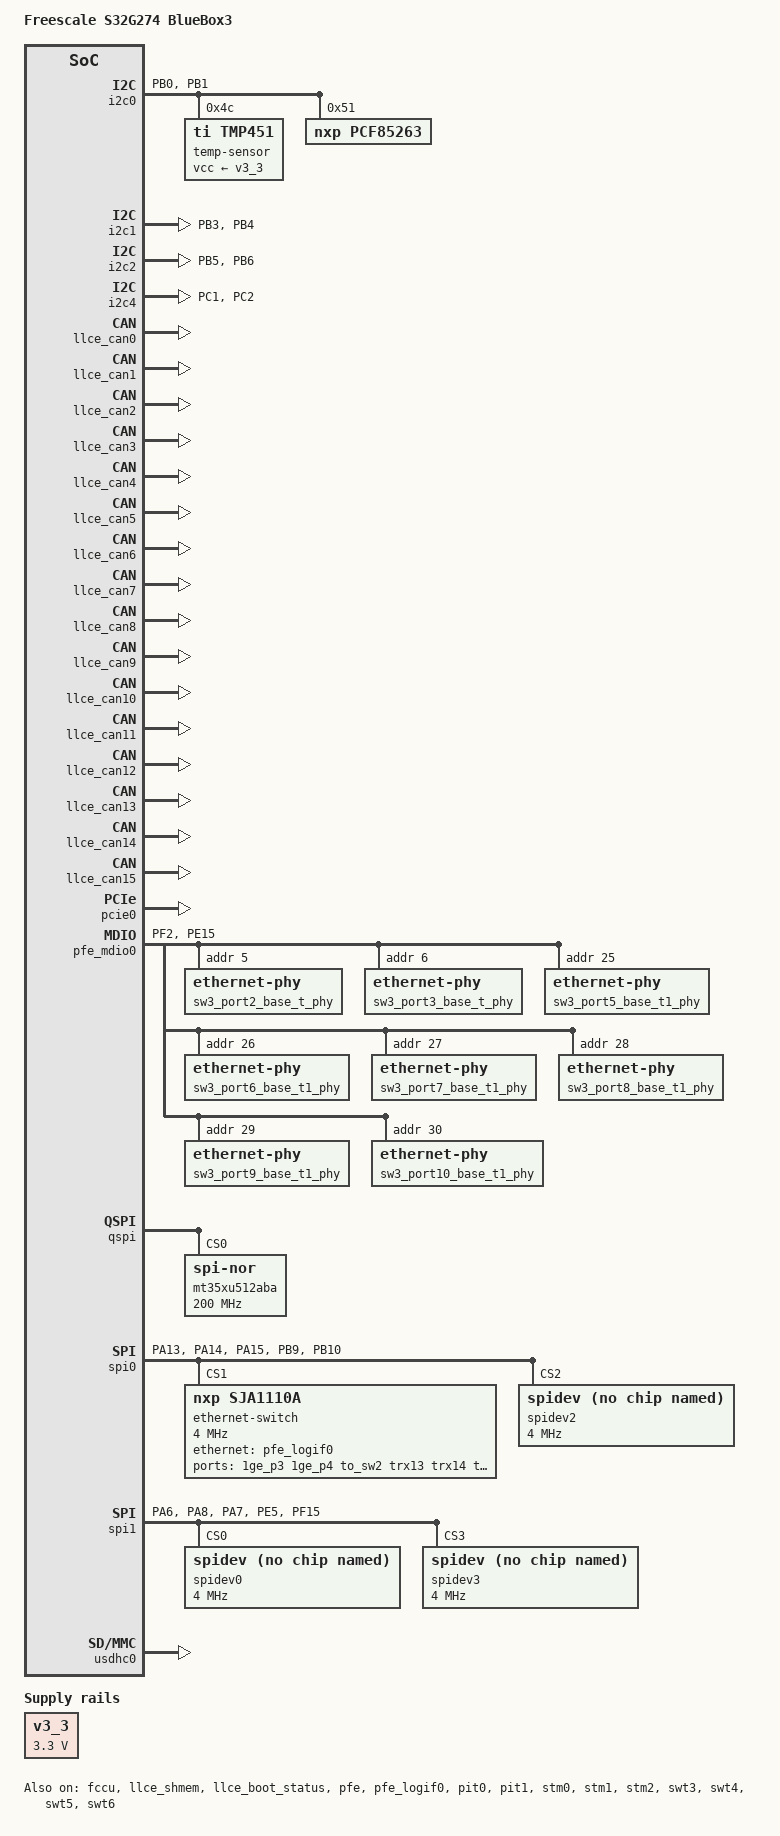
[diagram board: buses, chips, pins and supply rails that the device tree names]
// SPDX-License-Identifier: GPL-2.0-or-later
/*
 * Copyright 2020-2021 NXP
 */

/dts-v1/;
#include "fsl-s32g274a.dtsi"
#include <dt-bindings/pinctrl/s32g274-pinctrl.h>
/ {
	model = "Freescale S32G274 BlueBox3";
	compatible = "fsl,s32g274-simu", "arm,vexpress";

	aliases {
		rtc0 = &pcf85263;
		rtc1 = &rtc0;
	};

	chosen {
		stdout-path = "serial0:115200n8";
	};

	v3_3: fixed-regulator-3_3v {
		compatible = "regulator-fixed";
		regulator-name = "3_3v";
		regulator-min-microvolt = <3300000>;
		regulator-max-microvolt = <3300000>;
		regulator-always-on;
		regulator-boot-on;
	};
};

&edma0 {
	status = "okay";
};

&edma1 {
	status = "okay";
};

&fccu {
	status = "okay";
};

&fxosc {
	clock-frequency = <40000000>;
};

&generic_timer {
	clock-frequency = <5000000>;
};

&gmac0 {
	status = "disabled";
};

&gpio0 {
	pinctrl-names = "default";
	pinctrl-0 = <&pinctrl_gpio0>;
	status = "okay";
};

&gpio1 {
	pinctrl-names = "default";
	pinctrl-0 = <&pinctrl_gpioeirq>, <&pinctrl_gpio1>;
	status = "okay";
};

&i2c0 {
	pinctrl-names = "default";
	pinctrl-0 = <&pinctrl0_i2c0>;
	status = "okay";

	temp-sensor@4c {
		compatible = "ti,tmp451";
		reg = <0x4c>;
		vcc-supply = <&v3_3>;
		#thermal-sensor-cells = <1>;
	};

	pcf85263: rtc@51 {
		compatible = "nxp,pcf85263";
		reg = <0x51>;
	};
};

&i2c1 {
	pinctrl-names = "default";
	pinctrl-0 = <&pinctrl0_i2c1>, <&pinctrl1_i2c1>;
	status = "okay";
};

&i2c2 {
	pinctrl-names = "default";
	pinctrl-0 = <&pinctrl0_i2c2>, <&pinctrl1_i2c2>;
	status = "okay";
};

&i2c4 {
	pinctrl-names = "default";
	pinctrl-0 = <&pinctrl0_i2c4>, <&pinctrl1_i2c4>;
	status = "okay";
};

&llce0_sram {
	status = "okay";
};

&llce1_sram {
	status = "okay";
};

&llce2_sram {
	status = "okay";
};

&llce3_sram {
	status = "okay";
};

&llce_shmem {
	status = "okay";
};

&llce_boot_status {
	status = "okay";
};

&llce_can0 {
	status = "okay";
};

&llce_can1 {
	status = "okay";
};

&llce_can2 {
	status = "okay";
};

&llce_can3 {
	status = "okay";
};

&llce_can4 {
	status = "okay";
};

&llce_can5 {
	status = "okay";
};

&llce_can6 {
	status = "okay";
};

&llce_can7 {
	status = "okay";
};

&llce_can8 {
	status = "okay";
};

&llce_can9 {
	status = "okay";
};

&llce_can10 {
	status = "okay";
};

&llce_can11 {
	status = "okay";
};

&llce_can12 {
	status = "okay";
};

&llce_can13 {
	status = "okay";
};

&llce_can14 {
	status = "okay";
};

&llce_can15 {
	status = "okay";
};

&pcie0 {
	status = "okay";
};

&pfe {
	status = "okay";
	memory-region = <&pfe_reserved>;
};

&pfe_logif0 {
	status = "okay";
	phy-mode = "sgmii";
	fixed-link {
		speed = <1000>;
		full-duplex;
	};
};

&pfe_logif1 {
	status = "disabled";
};

&pfe_logif2 {
	status = "disabled";
};

&pfe_mdio0 {
	pinctrl-names = "default";
	pinctrl-0 = <&pinctrl0_pfe0_mdio>, <&pinctrl1_pfe0_mdio>;
	status = "okay";

	sw3_port2_base_t_phy: ethernet-phy@5 {
		reg = <5>;
	};

	sw3_port3_base_t_phy: ethernet-phy@6 {
		reg = <6>;
	};

	sw3_port5_base_t1_phy: ethernet-phy@19 {
		reg = <0x19>;
	};

	sw3_port6_base_t1_phy: ethernet-phy@1a {
		reg = <0x1a>;
	};

	sw3_port7_base_t1_phy: ethernet-phy@1b {
		reg = <0x1b>;
	};

	sw3_port8_base_t1_phy: ethernet-phy@1c {
		reg = <0x1c>;
	};

	sw3_port9_base_t1_phy: ethernet-phy@1d {
		reg = <0x1d>;
	};

	sw3_port10_base_t1_phy: ethernet-phy@1e {
		reg = <0x1e>;
	};
};

&pinctrl0 {
	status = "okay";
	s32g274a-bluebox3 {
		pinctrl0_dspi0: dsp0grp {
			fsl,pins = <
				S32_GEN1_PAD_PA13__SPI0_SCK_OUT
				S32_GEN1_PAD_PA14__SPI0_SIN_OUT
				S32_GEN1_PAD_PA15__SPI0_SOUT_OUT
				S32_GEN1_PAD_PB9__SPI0_CS1_OUT
				S32_GEN1_PAD_PB10__SPI0_CS2_OUT
			>;
		};

		pinctrl0_dspi1: dspi1grp {
			fsl,pins = <
				S32_GEN1_PAD_PA6__SPI1_SOUT_OUT
				S32_GEN1_PAD_PA8__SPI1_SCK_OUT
				S32_GEN1_PAD_PA7__SPI1_CS0_OUT
				S32_GEN1_PAD_PE5__SPI1_CS3_OUT
				S32_GEN1_PAD_PF15__SPI1_SIN_OUT
			>;
		};

		pinctrl0_i2c0: i2c0grp {
			fsl,pins = <
				S32_GEN1_PAD_PB0__I2C0_DATA_OUT
				S32_GEN1_PAD_PB0__I2C0_DATA_IN
				S32_GEN1_PAD_PB1__I2C0_SCLK_OUT
				S32_GEN1_PAD_PB1__I2C0_SCLK_IN
			>;
		};

		pinctrl0_i2c1: i2c1grp {
			fsl,pins = <
				S32_GEN1_PAD_PB3__I2C1_SCLK_OUT
				S32_GEN1_PAD_PB4__I2C1_DATA_OUT
			>;
		};

		pinctrl0_i2c2: i2c2grp {
			fsl,pins = <
				S32_GEN1_PAD_PB5__I2C2_SCLK_OUT
				S32_GEN1_PAD_PB6__I2C2_DATA_OUT
			>;
		};

		pinctrl0_i2c4: i2c4grp {
			fsl,pins = <
				S32_GEN1_PAD_PC1__I2C4_DATA_OUT
				S32_GEN1_PAD_PC2__I2C4_SCLK_OUT
			>;
		};

		pinctrl_gpio0: gpiogrp0 {
			fsl,pins = <
				S32_GEN1_PAD_PA9__SIUL_GPIO9
				S32_GEN1_PAD_PA11__SIUL_GPIO11
				S32_GEN1_PAD_PB7__SIUL_GPIO23
				S32_GEN1_PAD_PB8__SIUL_GPIO24
				S32_GEN1_PAD_PB11__SIUL_GPIO27
				S32_GEN1_PAD_PB12__SIUL_GPIO28
				S32_GEN1_PAD_PB13__SIUL_GPIO29
				S32_GEN1_PAD_PB14__SIUL_GPIO30
				S32_GEN1_PAD_PB15__SIUL_GPIO31
				S32_GEN1_PAD_PC0__SIUL_GPIO32
				S32_GEN1_PAD_PC6__SIUL_GPIO38
				S32_GEN1_PAD_PD12__SIUL_GPIO60
				S32_GEN1_PAD_PD13__SIUL_GPIO61
				S32_GEN1_PAD_PD14__SIUL_GPIO62
				S32_GEN1_PAD_PD15__SIUL_GPIO63
				S32_GEN1_PAD_PE2__SIUL_GPIO66
				S32_GEN1_PAD_PE3__SIUL_GPIO67
				S32_GEN1_PAD_PE14__SIUL_GPIO78
				S32_GEN1_PAD_PF0__SIUL_GPIO80
			>;
		};

		pinctrl0_pfe0_mdio: pfe0mdiogrp {
			fsl,pins = <
				S32_G274_PAD_PF2__PFE0_MDC
				S32_G274_PAD_PE15__PFE0_MDIO_OUT
			>;
		};
	};
};

&pinctrl1 {
	status = "okay";
	s32g274a-bluebox3 {

		pinctrl1_dspi0: dspi0grp {
			fsl,pins = <
				S32_GEN1_PAD_PA14__SPI0_SIN_IN
			>;
		};

		pinctrl1_dspi1: dspi1grp {
			fsl,pins = <
				S32_GEN1_PAD_PF15__SPI1_SIN_IN
			>;
		};

		pinctrl1_i2c1: i2c1grp {
			fsl,pins = <
				S32_GEN1_PAD_PB3__I2C1_SCLK_IN
				S32_GEN1_PAD_PB4__I2C1_DATA_IN
			>;
		};

		pinctrl1_i2c2: i2c2grp {
			fsl,pins = <
				S32_GEN1_PAD_PB5__I2C2_SCLK_IN
				S32_GEN1_PAD_PB6__I2C2_DATA_IN
			>;
		};

		pinctrl1_i2c4: i2c4grp {
			fsl,pins = <
				S32_GEN1_PAD_PC1__I2C4_DATA_IN
				S32_GEN1_PAD_PC2__I2C4_SCLK_IN
			>;
		};

		pinctrl_gpio1: gpiogrp1 {
			fsl,pins = <
				S32_GEN1_PAD_PH0__SIUL_GPIO112
				S32_GEN1_PAD_PH1__SIUL_GPIO113
				S32_GEN1_PAD_PH2__SIUL_GPIO114
				S32_GEN1_PAD_PH3__SIUL_GPIO115
				S32_GEN1_PAD_PH6__SIUL_GPIO118
				S32_GEN1_PAD_PH10__SIUL_GPIO122
				S32_GEN1_PAD_PJ0__SIUL_GPIO144
				S32_GEN1_PAD_PL10__SIUL_GPIO186
				S32_GEN1_PAD_PL11__SIUL_GPIO187
				S32_GEN1_PAD_PL12__SIUL_GPIO188
				S32_GEN1_PAD_PL13__SIUL_GPIO189
				S32_GEN1_PAD_PL14__SIUL_GPIO190
				>;
		};

		pinctrl_gpioeirq: gpioeirqgrp {
			fsl,pins = <
				S32_GEN1_PAD_PB7__SIUL_EIRQ4
				S32_GEN1_PAD_PB8__SIUL_EIRQ5
				S32_GEN1_PAD_PB11__SIUL_EIRQ8
				S32_GEN1_PAD_PB12__SIUL_EIRQ9
				S32_GEN1_PAD_PB15__SIUL_EIRQ12
				>;
		};

		pinctrl1_pfe0_mdio: pfe0mdiogrp {
			fsl,pins = <
				S32_G274_PAD_PE15__PFE0_MDIO_IN
			>;
		};
	};
};

&pit0 {
	status = "okay";
};

&pit1 {
	status = "okay";
};

&qspi {
	pinctrl-0 = <&pinctrl0_qspi>;
	pinctrl-names = "default";
	status = "okay";

	mt35xu512aba@0 {
		address-cells = <1>;
		#size-cells = <1>;
		compatible = "jedec,spi-nor";
		spi-max-frequency = <200000000>;
		spi-tx-bus-width = <8>;
		spi-rx-bus-width = <8>;
		reg = <0>;
	};
};

&spi0 {
	pinctrl-names = "default";
	pinctrl-0 = <&pinctrl0_dspi0>, <&pinctrl1_dspi0>;
	#address-cells = <1>;
	#size-cells = <0>;
	status = "okay";

	ethernet-switch@1 {
		compatible = "nxp,sja1110a";
		reg = <1>;
		spi-max-frequency = <4000000>;
		dsa,member = <0 0>;

		ethernet-ports {
			#address-cells = <1>;
			#size-cells = <0>;

			/* Microcontroller port */
			port@0 {
				reg = <0>;
				status = "disabled";
			};

			/* SW3_P1 */
			port@1 {
				reg = <1>;
				ethernet = <&pfe_logif0>;
				phy-mode = "sgmii";

				fixed-link {
					speed = <1000>;
					full-duplex;
				};
			};

			port@2 {
				reg = <2>;
				label = "1ge_p3";
				phy-mode = "rgmii-id";
				phy-handle = <&sw3_port2_base_t_phy>;
			};

			port@3 {
				reg = <3>;
				label = "1ge_p4";
				phy-mode = "rgmii-id";
				phy-handle = <&sw3_port3_base_t_phy>;
			};

			port@4 {
				reg = <4>;
				label = "to_sw2";
				phy-mode = "2500base-x";

				fixed-link {
					speed = <2500>;
					full-duplex;
				};
			};

			port@5 {
				reg = <5>;
				label = "trx13";
				phy-mode = "internal";
				phy-handle = <&sw3_port5_base_t1_phy>;
			};

			port@6 {
				reg = <6>;
				label = "trx14";
				phy-mode = "internal";
				phy-handle = <&sw3_port6_base_t1_phy>;
			};

			port@7 {
				reg = <7>;
				label = "trx15";
				phy-mode = "internal";
				phy-handle = <&sw3_port7_base_t1_phy>;
			};

			port@8 {
				reg = <8>;
				label = "trx16";
				phy-mode = "internal";
				phy-handle = <&sw3_port8_base_t1_phy>;
			};

			port@9 {
				reg = <9>;
				label = "trx17";
				phy-mode = "internal";
				phy-handle = <&sw3_port9_base_t1_phy>;
			};

			port@a {
				reg = <10>;
				label = "trx18";
				phy-mode = "internal";
				phy-handle = <&sw3_port10_base_t1_phy>;
			};
		};
	};

	spidev2: spidev@2 {
		compatible = "rohm,dh2228fv";
		spi-max-frequency = <4000000>;
		reg = <2>;
	};
};

&spi1 {
	pinctrl-names = "default";
	pinctrl-0 = <&pinctrl0_dspi1>, <&pinctrl1_dspi1>;
	#address-cells = <1>;
	#size-cells = <0>;
	status = "okay";

	spidev0: spidev@0 {
		compatible = "rohm,dh2228fv";
		spi-max-frequency = <4000000>;
		reg = <0>;
	};

	spidev3: spidev@3 {
		compatible = "rohm,dh2228fv";
		spi-max-frequency = <4000000>;
		reg = <3>;
	};
};

&stm0 {
	status = "okay";
};

&stm1 {
	status = "okay";
};

&stm2 {
	status = "okay";
};

&swt3 {
	status = "okay";
};

&swt4 {
	status = "okay";
};

&swt5 {
	status = "okay";
};

&swt6 {
	status = "okay";
};

&usdhc0 {
	status = "okay";
};
